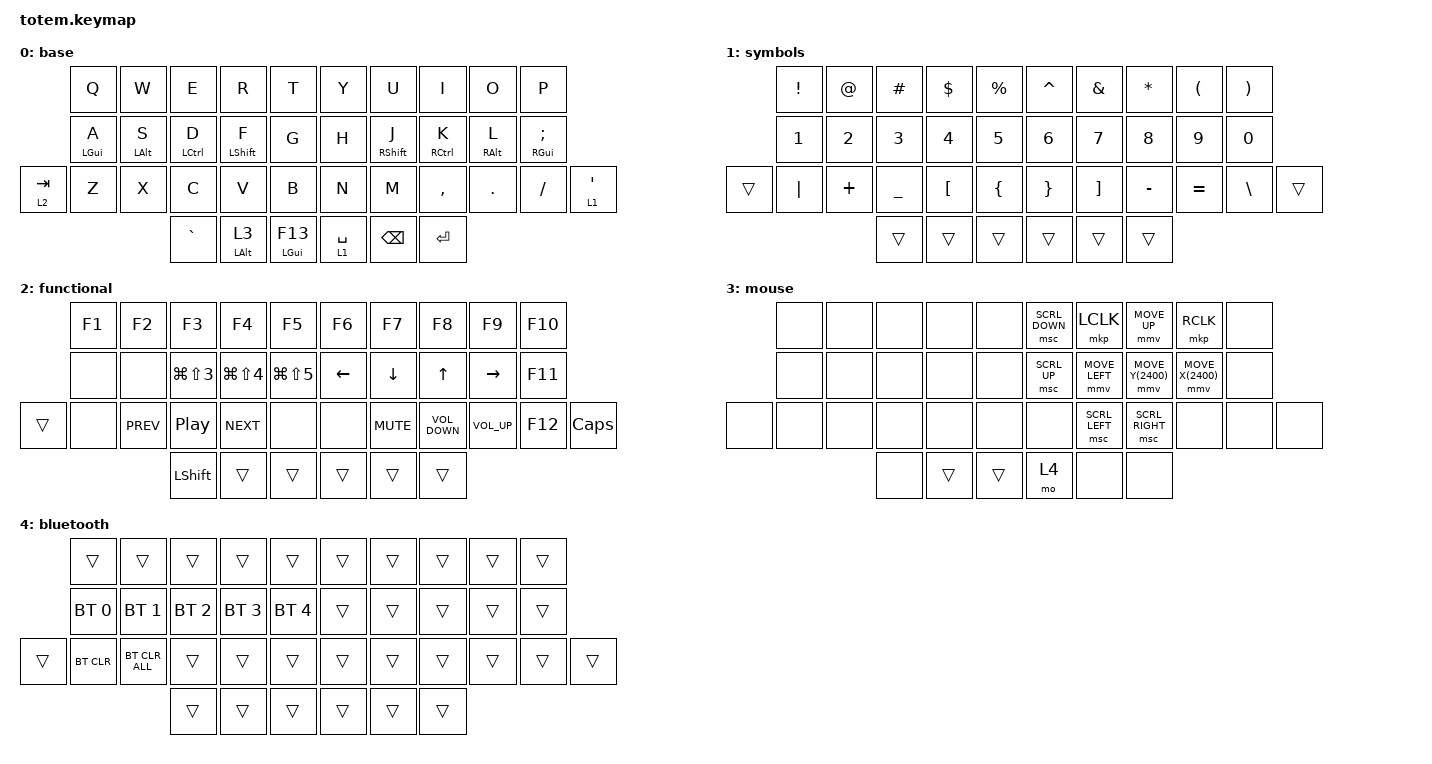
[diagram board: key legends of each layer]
//
//                                                        ▀▀▀▀▀     ▀▀▀▀▀          ▀▀█▀▀
//                                                        ▄▀▀▀▄  ▄  ▄▀▀▀▄  ▄  ▄▀▀▀▄  █  ▄▀▀▀▄
//                                                        █   █  █  █   █  █  █   █  █  █   █
//                                                         ▀▀▀   █   ▀▀▀   █   ▀▀▀   ▀   ▀▀▀
//                                                               █      ▄▄▄█▄▄▄    █   █  
//                                                               ▀      █  █  █     █▄█
//                                                             ▀▀▀▀▀    █  █  █      ▀
//                                                                      ▀  ▀  ▀
//
// ▄▄▄▄▄▄▄▄▄▄▄▄▄▄▄▄▄▄▄▄▄▄▄▄▄▄▄▄▄▄▄▄▄▄▄▄▄▄▄▄▄▄▄▄▄▄▄▄▄▄▄▄▄▄▄▄▄▄▄▄▄▄▄▄▄▄▄▄▄▄▄▄▄▄▄▄▄▄▄▄▄▄▄▄▄▄▄▄▄▄▄▄▄▄▄▄▄▄▄▄▄▄▄▄▄▄▄▄▄▄▄▄▄▄▄▄▄▄▄▄▄▄▄▄▄▄▄▄▄▄▄▄▄▄▄▄▄▄▄▄▄▄▄▄▄▄▄▄▄

#include <behaviors.dtsi>
#include <dt-bindings/zmk/bt.h>
#include <dt-bindings/zmk/keys.h>
#include <dt-bindings/zmk/pointing.h>

#undef MOVE_UP
#undef MOVE_DOWN
#undef MOVE_LEFT
#undef MOVE_RIGHT

#define MOVE_UP    MOVE_Y(-2400)
#define MOVE_DOWN  MOVE_Y(2400)
#define MOVE_LEFT  MOVE_X(-2400)
#define MOVE_RIGHT MOVE_X(2400)

&mmv {
    acceleration-exponent = <1>;
    time-to-max-speed-ms = <300>;
    delay-ms = <0>;
};

&msc {
    acceleration-exponent = <0>;
    time-to-max-speed-ms = <40>;
    delay-ms = <0>;
};

/ {
    combos {
        compatible = "zmk,combos";

        caps_combo {
            timeout-ms = <150>;
            key-positions = <13 16>;
            bindings = <&kp CAPSLOCK>;
            layers = <0>;
        };
    };

    behaviors {
        hml: hml {
            compatible = "zmk,behavior-hold-tap";
            label = "HML";
            bindings = <&kp>, <&kp>;

            #binding-cells = <2>;
            tapping-term-ms = <220>;
            quick-tap-ms = <150>;
            require-prior-idle-ms = <150>;
            flavor = "balanced";
            hold-trigger-on-release;
        };

        hms: hms {
            compatible = "zmk,behavior-hold-tap";
            label = "HMS";
            bindings = <&kp>, <&kp>;

            #binding-cells = <2>;
            tapping-term-ms = <220>;
            quick-tap-ms = <150>;
            require-prior-idle-ms = <125>;
            flavor = "balanced";
            hold-trigger-on-release;
        };

        holdtoggle: holdtoggle {
            compatible = "zmk,behavior-hold-tap";
            label = "HOLDTOGGLE";
            bindings = <&kp>, <&tog>;

            #binding-cells = <2>;
            tapping-term-ms = <200>;
            quick-tap-ms = <125>;
            require-prior-idle-ms = <175>;
            hold-trigger-on-release;
        };
    };

    keymap {
        compatible = "zmk,keymap";

        base {
            bindings = <
           &kp Q            &kp W            &kp E                &kp R                   &kp T           &kp Y        &kp U               &kp I                 &kp O             &kp P
           &hml LEFT_GUI A  &hml LEFT_ALT S  &hml LEFT_CONTROL D  &hms LEFT_SHIFT F       &kp G           &kp H        &hms RIGHT_SHIFT J  &hml RIGHT_CONTROL K  &hml RIGHT_ALT L  &hml RIGHT_GUI SEMICOLON
&lt 2 TAB  &kp Z            &kp X            &kp C                &kp V                   &kp B           &kp N        &kp M               &kp COMMA             &kp DOT           &kp FSLH                  &lt 1 APOS
                                             &kp GRAVE            &holdtoggle LEFT_ALT 3  &mt LGUI F13    &lt 1 SPACE  &kp BACKSPACE       &kp ENTER
            >;
        };

        symbols {
            bindings = <
        &kp EXCL      &kp AT        &kp POUND     &kp DOLLAR        &kp PERCENT       &kp CARET        &kp AMPERSAND      &kp STAR   &kp LEFT_PARENTHESIS  &kp RIGHT_PARENTHESIS
        &kp NUMBER_1  &kp NUMBER_2  &kp NUMBER_3  &kp NUMBER_4      &kp N5            &kp NUMBER_6     &kp N7             &kp N8     &kp N9                &kp N0
&trans  &kp PIPE      &kp PLUS      &kp UNDER     &kp LEFT_BRACKET  &kp LEFT_BRACE    &kp RIGHT_BRACE  &kp RIGHT_BRACKET  &kp MINUS  &kp EQUAL             &kp BACKSLASH          &trans
                                    &trans        &trans            &trans            &trans           &trans             &trans
            >;
        };

        functional {
            bindings = <
        &kp F1  &kp F2      &kp F3            &kp F4          &kp F5            &kp F6    &kp F7      &kp F8             &kp F9           &kp F10
        &none   &none       &kp LG(LS(N3))    &kp LG(LS(N4))  &kp LG(LS(N5))    &kp LEFT  &kp DOWN    &kp UP             &kp RIGHT        &kp F11
&trans  &none   &kp C_PREV  &kp C_PLAY_PAUSE  &kp C_NEXT      &none             &none     &kp K_MUTE  &kp C_VOLUME_DOWN  &kp C_VOLUME_UP  &kp F12  &kp CAPSLOCK
                            &kp LEFT_SHIFT    &trans          &trans            &trans    &trans      &trans
            >;
        };

        mouse {
            bindings = <
       &none  &none  &none  &none   &none     &msc SCRL_DOWN  &mkp LCLK       &mmv MOVE_UP     &mkp RCLK        &none
       &none  &none  &none  &none   &none     &msc SCRL_UP    &mmv MOVE_LEFT  &mmv MOVE_DOWN   &mmv MOVE_RIGHT  &none
&none  &none  &none  &none  &none   &none     &none           &msc SCRL_LEFT  &msc SCRL_RIGHT  &none            &none  &none
                     &none  &trans  &trans    &mo 4           &none           &none
            >;
        };

        bluetooth {
            bindings = <
        &trans        &trans          &trans        &trans        &trans          &trans  &trans  &trans  &trans  &trans
        &bt BT_SEL 0  &bt BT_SEL 1    &bt BT_SEL 2  &bt BT_SEL 3  &bt BT_SEL 4    &trans  &trans  &trans  &trans  &trans
&trans  &bt BT_CLR    &bt BT_CLR_ALL  &trans        &trans        &trans          &trans  &trans  &trans  &trans  &trans  &trans
                                      &trans        &trans        &trans          &trans  &trans  &trans
            >;
        };
    };

    conditional_layers { compatible = "zmk,conditional-layers"; };
};
